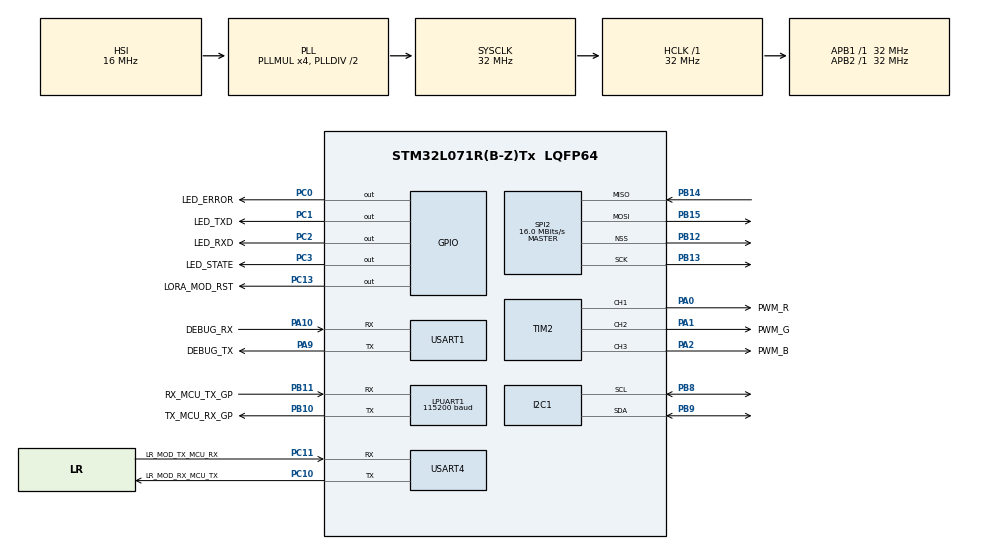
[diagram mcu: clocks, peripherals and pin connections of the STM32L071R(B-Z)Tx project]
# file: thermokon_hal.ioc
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Dma.Request0=USART4_RX
Dma.Request1=USART4_TX
Dma.USART4_RX.0.Direction=DMA_PERIPH_TO_MEMORY
Dma.USART4_RX.0.Instance=DMA1_Channel2
Dma.USART4_RX.0.MemDataAlignment=DMA_MDATAALIGN_BYTE
Dma.USART4_RX.0.MemInc=DMA_MINC_ENABLE
Dma.USART4_RX.0.Mode=DMA_CIRCULAR
Dma.USART4_RX.0.PeriphDataAlignment=DMA_PDATAALIGN_BYTE
Dma.USART4_RX.0.PeriphInc=DMA_PINC_DISABLE
Dma.USART4_RX.0.Priority=DMA_PRIORITY_LOW
Dma.USART4_TX.1.Direction=DMA_MEMORY_TO_PERIPH
Dma.USART4_TX.1.Instance=DMA1_Channel3
Dma.USART4_TX.1.MemDataAlignment=DMA_MDATAALIGN_BYTE
Dma.USART4_TX.1.MemInc=DMA_MINC_ENABLE
Dma.USART4_TX.1.Mode=DMA_NORMAL
Dma.USART4_TX.1.PeriphDataAlignment=DMA_PDATAALIGN_BYTE
Dma.USART4_TX.1.PeriphInc=DMA_PINC_DISABLE
Dma.USART4_TX.1.Priority=DMA_PRIORITY_LOW
I2C1.Timing=0x00707CBB
LPUART1.BaudRate=115200
LPUART1.WordLength=UART_WORDLENGTH_8B
Mcu.Family=STM32L0
Mcu.Name=STM32L071R(B-Z)Tx
Mcu.Package=LQFP64
NVIC.DMA1_Channel2_3_IRQn=true\:0\:0\:false\:false\:true\:false\:true
NVIC.LPUART1_IRQn=true\:0\:0\:false\:false\:true\:true\:true
NVIC.TIM2_IRQn=true\:0\:0\:false\:false\:true\:true\:true
NVIC.USART1_IRQn=true\:0\:0\:false\:false\:true\:true\:true
NVIC.USART4_5_IRQn=true\:0\:0\:false\:false\:true\:true\:true
PA0.GPIO_Label=PWM_R
PA0.Signal=S_TIM2_CH1
PA1.GPIO_Label=PWM_G
PA1.Signal=S_TIM2_CH2
PA10.GPIO_Label=DEBUG_RX
PA10.Mode=Asynchronous
PA10.Signal=USART1_RX
PA13.Mode=Serial_Wire
PA13.Signal=SYS_SWDIO
PA14.Mode=Serial_Wire
PA14.Signal=SYS_SWCLK
PA2.GPIO_Label=PWM_B
PA2.Signal=S_TIM2_CH3
PA9.GPIO_Label=DEBUG_TX
PA9.Mode=Asynchronous
PA9.Signal=USART1_TX
PB10.GPIO_Label=TX_MCU_RX_GP
PB10.Mode=Asynchronous
PB10.Signal=LPUART1_TX
PB11.GPIO_Label=RX_MCU_TX_GP
PB11.Mode=Asynchronous
PB11.Signal=LPUART1_RX
PB12.Mode=NSS_Signal_Hard_Output
PB12.Signal=SPI2_NSS
PB13.Mode=Full_Duplex_Master
PB13.Signal=SPI2_SCK
PB14.Mode=Full_Duplex_Master
PB14.Signal=SPI2_MISO
PB15.Mode=Full_Duplex_Master
PB15.Signal=SPI2_MOSI
PB8.GPIO_Pu=GPIO_PULLUP
PB8.Mode=I2C
PB8.Signal=I2C1_SCL
PB9.GPIO_Pu=GPIO_PULLUP
PB9.Mode=I2C
PB9.Signal=I2C1_SDA
PC0.GPIO_Label=LED_ERROR
PC0.GPIO_Speed=GPIO_SPEED_FREQ_HIGH
PC0.PinState=GPIO_PIN_SET
PC0.Signal=GPIO_Output
PC1.GPIO_Label=LED_TXD
PC1.GPIO_Speed=GPIO_SPEED_FREQ_HIGH
PC1.PinState=GPIO_PIN_SET
PC1.Signal=GPIO_Output
PC10.GPIO_Label=LR_MOD_RX_MCU_TX
PC10.Mode=Asynchronous
PC10.Signal=USART4_TX
PC11.GPIO_Label=LR_MOD_TX_MCU_RX
PC11.Mode=Asynchronous
PC11.Signal=USART4_RX
PC13.GPIO_Label=LORA_MOD_RST
PC13.PinState=GPIO_PIN_SET
PC13.Signal=GPIO_Output
PC14-OSC32_IN.Mode=LSE-External-Oscillator
PC14-OSC32_IN.Signal=RCC_OSC32_IN
PC15-OSC32_OUT.Mode=LSE-External-Oscillator
PC15-OSC32_OUT.Signal=RCC_OSC32_OUT
PC2.GPIO_Label=LED_RXD
PC2.GPIO_Speed=GPIO_SPEED_FREQ_HIGH
PC2.PinState=GPIO_PIN_SET
PC2.Signal=GPIO_Output
PC3.GPIO_Label=LED_STATE
PC3.GPIO_Speed=GPIO_SPEED_FREQ_HIGH
PC3.PinState=GPIO_PIN_SET
PC3.Signal=GPIO_Output
ProjectManager.HeapSize=0x200
ProjectManager.StackSize=0x400
ProjectManager.TargetToolchain=MDK-ARM V5
RCC.AHBFreq_Value=32000000
RCC.APB1Freq_Value=32000000
RCC.APB1TimFreq_Value=32000000
RCC.APB2Freq_Value=32000000
RCC.APB2TimFreq_Value=32000000
RCC.HCLKFreq_Value=32000000
RCC.HSE_VALUE=8000000
RCC.HSI16_VALUE=16000000
RCC.HSI_VALUE=16000000
RCC.MSI_VALUE=2097000
RCC.PLLMUL=RCC_PLLMUL_4
RCC.SYSCLKFreq_VALUE=32000000
RCC.SYSCLKSource=RCC_SYSCLKSOURCE_PLLCLK
RCC.VCOOutputFreq_Value=64000000
SH.S_TIM2_CH1.0=TIM2_CH1,PWM Generation1 CH1
SH.S_TIM2_CH2.0=TIM2_CH2,PWM Generation2 CH2
SH.S_TIM2_CH3.0=TIM2_CH3,PWM Generation3 CH3
SPI2.CalculateBaudRate=16.0 MBits/s
SPI2.Direction=SPI_DIRECTION_2LINES
SPI2.Mode=SPI_MODE_MASTER
SPI2.VirtualNSS=VM_NSSHARD
SPI2.VirtualType=VM_MASTER
TIM2.Channel-PWM\ Generation1\ CH1=TIM_CHANNEL_1
TIM2.Channel-PWM\ Generation2\ CH2=TIM_CHANNEL_2
TIM2.Channel-PWM\ Generation3\ CH3=TIM_CHANNEL_3
USART1.VirtualMode-Asynchronous=VM_ASYNC
USART4.VirtualMode-Asynchronous=VM_ASYNC
VP_TIM2_VS_ClockSourceINT.Mode=Internal
board=custom

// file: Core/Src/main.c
/* USER CODE BEGIN Header */
/**
  ******************************************************************************
  * @file           : main.c
  * @brief          : Main program body
  ******************************************************************************
  * @attention
  *
  * <h2><center>&copy; Copyright (c) 2021 STMicroelectronics.
  * All rights reserved.</center></h2>
  *
  * This software component is licensed by ST under BSD 3-Clause license,
  * the "License"; You may not use this file except in compliance with the
  * License. You may obtain a copy of the License at:
  *                        opensource.org/licenses/BSD-3-Clause
  *
  ******************************************************************************
  */
/* USER CODE END Header */
#include "main.h"
#include "dma.h"
#include "i2c.h"
#include "usart.h"
#include "spi.h"
#include "tim.h"
#include "gpio.h"

/* USER CODE BEGIN Includes */
#include "stdio.h"
#include "internal_flash_test.h"
#include "modbus_test.h"
#include "cli_process.h"

/* USER CODE END Includes */

void SystemClock_Config(void);

/* USER CODE BEGIN 0 */
int fputc(int ch, FILE *f)
{
  /* Place your implementation of fputc here */
  /* e.g. write a character to the EVAL_COM1 and Loop until the end of transmission */

  HAL_UART_Transmit(&DEBUG_PORT_HANDLE, (uint8_t *)&ch, 1, 0xFFFF);

  return ch;
}

int fgetc(FILE *f)
{
  uint8_t  ch;

  HAL_UART_Receive(&DEBUG_PORT_HANDLE,(uint8_t *)&ch, 1, HAL_MAX_DELAY);

  return  ch;
}
/*
 * If add codes below, will do not need to use MicroLIB
*/

#pragma import(__use_no_semihosting)

struct __FILE
{
	int a;
};

FILE __stdout;
FILE __stdin;
void _sys_exit(int x)
{

}

/* USER CODE END 0 */

int main(void)
{

  /* MCU Configuration--------------------------------------------------------*/

  /* Reset of all peripherals, Initializes the Flash interface and the Systick. */
  HAL_Init();

  /* Configure the system clock */
  SystemClock_Config();

  /* Initialize all configured peripherals */
  MX_GPIO_Init();
  MX_DMA_Init();
  MX_TIM2_Init();
  MX_USART1_UART_Init();

  MX_USART4_UART_Init();
  MX_I2C1_Init();
  MX_SPI2_Init();
  MX_LPUART1_UART_Init();
  /* USER CODE BEGIN 2 */

	printf("Hello, Thermokon! \r\n\r\n");
	//detect_thermokon_sensor();
	main_handle_cli();
	//internal_flash_test();

  /* USER CODE END 2 */

  /* Infinite loop */
  /* USER CODE BEGIN WHILE */
	//char string[20] ={0};

  while (1)
  {
/*
		printf("***********************\r\n");
		printf("Please input any words:  \r\n");
		scanf("%s", string);
		printf("Inputed:\'%s\'\r\n", string);
	*/
    /* USER CODE END WHILE */

  }
}

void SystemClock_Config(void)
{
  RCC_OscInitTypeDef RCC_OscInitStruct = {0};
  RCC_ClkInitTypeDef RCC_ClkInitStruct = {0};
  RCC_PeriphCLKInitTypeDef PeriphClkInit = {0};

  /** Configure the main internal regulator output voltage
  */
  __HAL_PWR_VOLTAGESCALING_CONFIG(PWR_REGULATOR_VOLTAGE_SCALE1);
  /** Initializes the RCC Oscillators according to the specified parameters
  * in the RCC_OscInitTypeDef structure.
  */
  RCC_OscInitStruct.OscillatorType = RCC_OSCILLATORTYPE_HSI;
  RCC_OscInitStruct.HSIState = RCC_HSI_ON;
  RCC_OscInitStruct.HSICalibrationValue = RCC_HSICALIBRATION_DEFAULT;
  RCC_OscInitStruct.PLL.PLLState = RCC_PLL_ON;
  RCC_OscInitStruct.PLL.PLLSource = RCC_PLLSOURCE_HSI;
  RCC_OscInitStruct.PLL.PLLMUL = RCC_PLLMUL_4;
  RCC_OscInitStruct.PLL.PLLDIV = RCC_PLLDIV_2;
  if (HAL_RCC_OscConfig(&RCC_OscInitStruct) != HAL_OK)
  {
    Error_Handler();
  }
  /** Initializes the CPU, AHB and APB buses clocks
  */
  RCC_ClkInitStruct.ClockType = RCC_CLOCKTYPE_HCLK|RCC_CLOCKTYPE_SYSCLK
                              |RCC_CLOCKTYPE_PCLK1|RCC_CLOCKTYPE_PCLK2;
  RCC_ClkInitStruct.SYSCLKSource = RCC_SYSCLKSOURCE_PLLCLK;
  RCC_ClkInitStruct.AHBCLKDivider = RCC_SYSCLK_DIV1;
  RCC_ClkInitStruct.APB1CLKDivider = RCC_HCLK_DIV1;
  RCC_ClkInitStruct.APB2CLKDivider = RCC_HCLK_DIV1;

  if (HAL_RCC_ClockConfig(&RCC_ClkInitStruct, FLASH_LATENCY_1) != HAL_OK)
  {
    Error_Handler();
  }
  PeriphClkInit.PeriphClockSelection = RCC_PERIPHCLK_USART1|RCC_PERIPHCLK_LPUART1
                              |RCC_PERIPHCLK_I2C1;
  PeriphClkInit.Usart1ClockSelection = RCC_USART1CLKSOURCE_PCLK2;
  PeriphClkInit.Lpuart1ClockSelection = RCC_LPUART1CLKSOURCE_PCLK1;
  PeriphClkInit.I2c1ClockSelection = RCC_I2C1CLKSOURCE_PCLK1;
  if (HAL_RCCEx_PeriphCLKConfig(&PeriphClkInit) != HAL_OK)
  {
    Error_Handler();
  }
}

void Error_Handler(void)
{
  __disable_irq();
  while (1)
  {
  }
}

/************************ (C) COPYRIGHT STMicroelectronics *****END OF FILE****/
